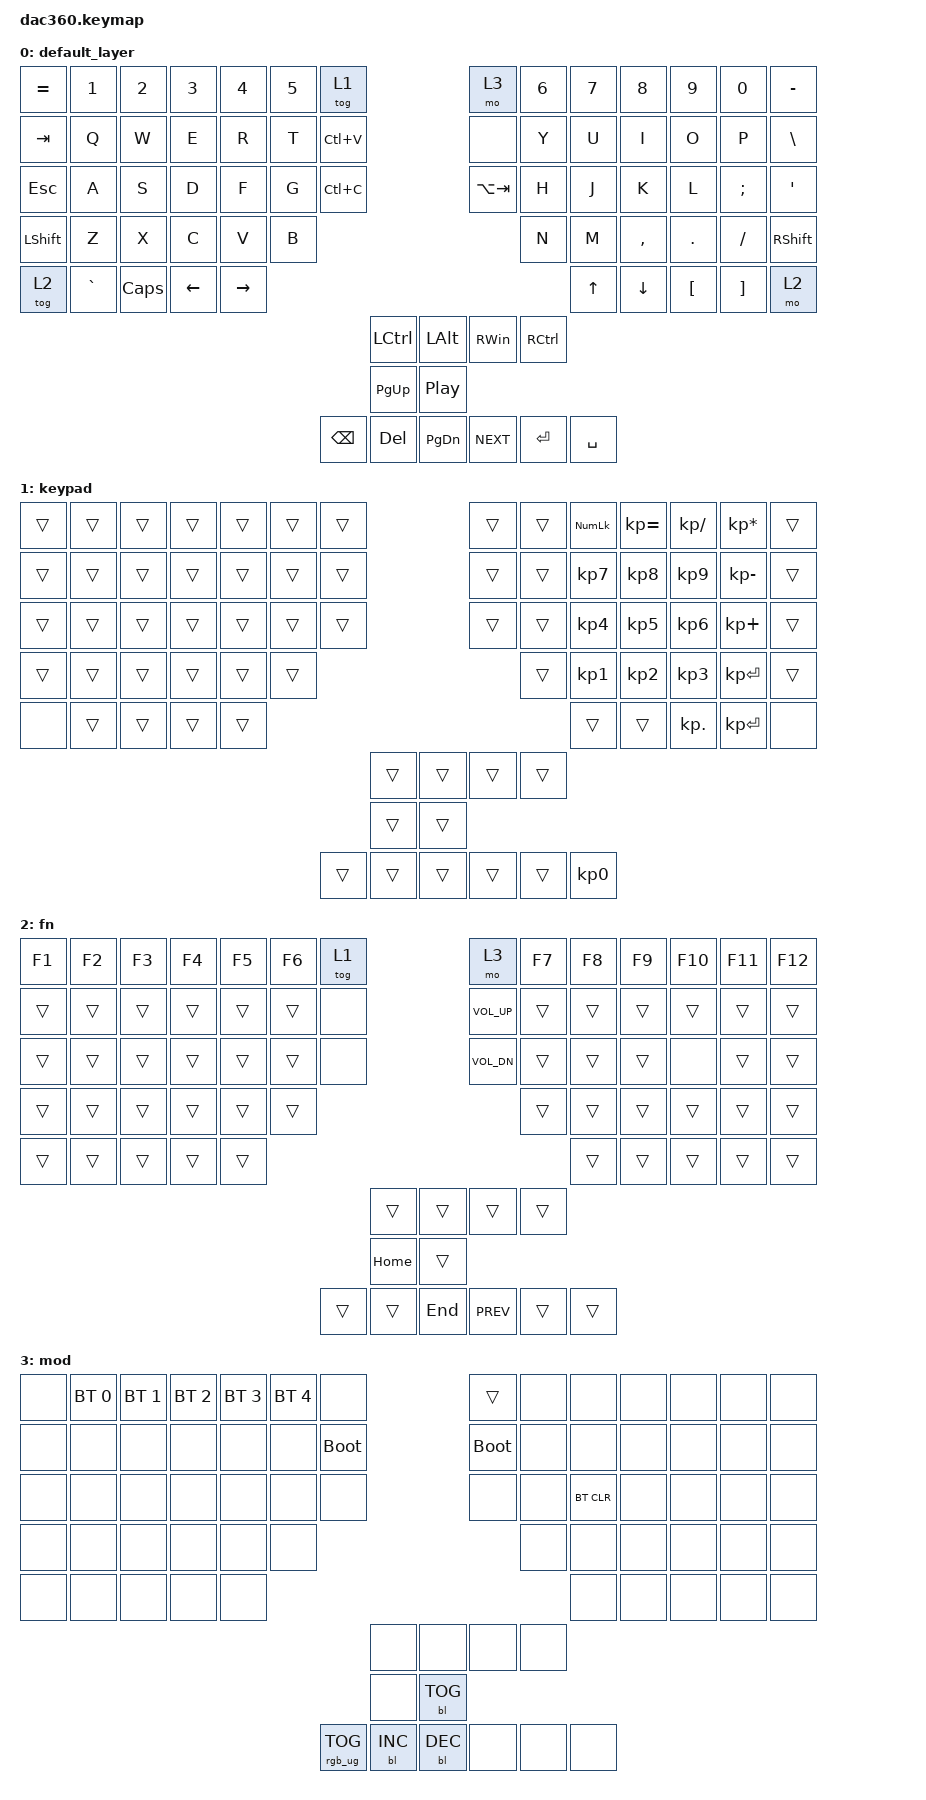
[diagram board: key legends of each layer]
#include <behaviors.dtsi>
#include <dt-bindings/zmk/backlight.h>
#include <dt-bindings/zmk/bt.h>
#include <dt-bindings/zmk/keys.h>
#include <dt-bindings/zmk/rgb.h>

/ {
    conditional_layers { compatible = "zmk,conditional-layers"; };

    macros {
        colemak_switch: eng_colemak_switch {
            compatible = "zmk,behavior-macro";
            #binding-cells = <0>;
            bindings = <&kp LS(LC(NUMBER_1)) &to 0>;
            label = "ENG_COLEMAK_SWITCH";
        };

        ru_switch: ru_switch {
            compatible = "zmk,behavior-macro";
            #binding-cells = <0>;
            bindings = <&kp LS(LC(NUMBER_2)) &to 1>;
            label = " RU_SWITCH";
        };

        ua_switch: ua_switch {
            compatible = "zmk,behavior-macro";
            #binding-cells = <0>;
            bindings = <&kp LS(LC(NUMBER_3)) &to 1>;
            label = "UA_SWITCH";
        };

        win_sleep: win_sleep {
            wait-ms = <50>;
            tap-ms = <5>;
            compatible = "zmk,behavior-macro";
            label = "WIN_SLEEP_KEY";
            #binding-cells = <0>;
            bindings = <&kp LG(X) &kp U &kp S>;
        };
    };

    behaviors {
        sleep_behavior: sleep_behavior {
            compatible = "zmk,behavior-hold-tap";
            label = "SLEEP_BEHAVIOR";
            bindings = <&win_sleep>, <&kp>;

            #binding-cells = <2>;
            flavor = "tap-preferred";
            tapping-term-ms = <500>;
        };

        D_bhv: D_bhv {
            compatible = "zmk,behavior-mod-morph";
            label = "D_BHV";
            bindings = <&kp D>, <&kp LC(V)>;

            #binding-cells = <0>;
            mods = <(MOD_LCTL)>;
        };

        T_bhv: T_bhv {
            compatible = "zmk,behavior-mod-morph";
            label = "T_BHV";
            bindings = <&kp T>, <&kp LC(F)>;

            #binding-cells = <0>;
            mods = <(MOD_LCTL)>;
        };

        R_bhv: R_bhv {
            compatible = "zmk,behavior-mod-morph";
            label = "R_BHV";
            bindings = <&kp R>, <&kp LC(S)>;

            #binding-cells = <0>;
            mods = <(MOD_LCTL)>;
        };

        S_bhv: S_bhv {
            compatible = "zmk,behavior-mod-morph";
            label = "S_BHV";
            bindings = <&kp S>, <&kp LC(D)>;

            #binding-cells = <0>;
            mods = <(MOD_LCTL)>;
        };

        P_bhv: P_bhv {
            compatible = "zmk,behavior-mod-morph";
            label = "P_BHV";
            bindings = <&kp P>, <&kp LC(R)>;

            #binding-cells = <0>;
            mods = <(MOD_LCTL)>;
        };

        B_bhv: B_bhv {
            compatible = "zmk,behavior-mod-morph";
            label = "B_BHV";
            bindings = <&kp B>, <&kp LC(T)>;

            #binding-cells = <0>;
            mods = <(MOD_LCTL)>;
        };

        V_bhv: V_bhv {
            compatible = "zmk,behavior-mod-morph";
            label = "V_BHV";
            bindings = <&kp V>, <&kp LC(B)>;

            #binding-cells = <0>;
            mods = <(MOD_LCTL)>;
        };

        F_bhv: F_bhv {
            compatible = "zmk,behavior-mod-morph";
            label = "F_BHV";
            bindings = <&kp F>, <&kp LC(E)>;

            #binding-cells = <0>;
            mods = <(MOD_LCTL)>;
        };

        K_bhv: K_bhv {
            compatible = "zmk,behavior-mod-morph";
            label = "K_BHV";
            bindings = <&kp K>, <&kp LC(N)>;

            #binding-cells = <0>;
            mods = <(MOD_LCTL)>;
        };

        M_bhv: M_bhv {
            compatible = "zmk,behavior-mod-morph";
            label = "M_BHV";
            bindings = <&kp M>, <&kp LC(H)>;

            #binding-cells = <0>;
            mods = <(MOD_LCTL)>;
        };

        J_bhv: J_bhv {
            compatible = "zmk,behavior-mod-morph";
            label = "J_BHV";
            bindings = <&kp J>, <&kp LC(Y)>;

            #binding-cells = <0>;
            mods = <(MOD_LCTL)>;
        };

        H_bhv: H_bhv {
            compatible = "zmk,behavior-mod-morph";
            label = "H_BHV";
            bindings = <&kp H>, <&kp LC(M)>;

            #binding-cells = <0>;
            mods = <(MOD_LCTL)>;
        };

        N_bhv: N_bhv {
            compatible = "zmk,behavior-mod-morph";
            label = "N_BHV";
            bindings = <&kp N>, <&kp LC(J)>;

            #binding-cells = <0>;
            mods = <(MOD_LCTL)>;
        };

        L_bhv: L_bhv {
            compatible = "zmk,behavior-mod-morph";
            label = "L_BHV";
            bindings = <&kp L>, <&kp LC(U)>;

            #binding-cells = <0>;
            mods = <(MOD_LCTL)>;
        };

        E_bhv: E_bhv {
            compatible = "zmk,behavior-mod-morph";
            label = "E_BHV";
            bindings = <&kp E>, <&kp LC(K)>;

            #binding-cells = <0>;
            mods = <(MOD_LCTL)>;
        };

        U_bhv: U_bhv {
            compatible = "zmk,behavior-mod-morph";
            label = "U_BHV";
            bindings = <&kp U>, <&kp LC(I)>;

            #binding-cells = <0>;
            mods = <(MOD_LCTL)>;
        };

        I_bhv: I_bhv {
            compatible = "zmk,behavior-mod-morph";
            label = "I_BHV";
            bindings = <&kp I>, <&kp LC(L)>;

            #binding-cells = <0>;
            mods = <(MOD_LCTL)>;
        };

        Y_bhv: Y_bhv {
            compatible = "zmk,behavior-mod-morph";
            label = "Y_BHV";
            bindings = <&kp Y>, <&kp LC(O)>;

            #binding-cells = <0>;
            mods = <(MOD_LCTL)>;
        };

        O_bhv: O_bhv {
            compatible = "zmk,behavior-mod-morph";
            label = "O_BHV";
            bindings = <&kp O>, <&kp LC(SEMICOLON)>;

            #binding-cells = <0>;
            mods = <(MOD_LCTL)>;
        };

        semcol_bhv: semcol_bhv {
            compatible = "zmk,behavior-mod-morph";
            label = "SEMCOL_BHV";
            bindings = <&kp SEMICOLON>, <&kp LC(P)>;

            #binding-cells = <0>;
            mods = <(MOD_LCTL)>;
        };
    };

    keymap {
        compatible = "zmk,keymap";

        default_layer {
            bindings = <
&kp EQUAL       &kp N1     &kp N2        &kp N3    &kp N4     &kp N5  &tog 1                                                                          &mo 3        &kp N6  &kp N7        &kp N8          &kp N9            &kp N0    &kp MINUS
&kp TAB         &kp Q      &kp W         &kp E     &kp R      &kp T   &kp LC(V)                                                                       &none        &kp Y   &kp U         &kp I           &kp O             &kp P     &kp BSLH
&kp ESC         &kp A      &kp S         &kp D     &kp F      &kp G   &kp LC(C)                                                                       &kp LA(TAB)  &kp H   &kp J         &kp K           &kp L             &kp SEMI  &kp SQT
&kp LEFT_SHIFT  &kp Z      &kp X         &kp C     &kp V      &kp B                                                                                                &kp N   &kp M         &kp COMMA       &kp DOT           &kp FSLH  &kp RSHFT
&tog 2          &kp GRAVE  &kp CAPSLOCK  &kp LEFT  &kp RIGHT                                                                                                               &kp UP_ARROW  &kp DOWN_ARROW  &kp LEFT_BRACKET  &kp RBKT  &mo 2
                                                                                                &kp LCTRL   &kp LALT     &kp RIGHT_WIN     &kp RCTRL
                                                                                                            &kp PG_UP    &kp C_PLAY_PAUSE
                                                                                 &kp BACKSPACE  &kp DELETE  &kp PG_DN    &kp C_NEXT        &kp ENTER  &kp SPACE
            >;
        };

        keypad {
            bindings = <
&trans  &trans  &trans  &trans  &trans  &trans  &trans                                            &trans           &trans  &kp KP_NUMLOCK  &kp KP_EQUAL  &kp KP_SLASH  &kp KP_ASTERISK  &trans
&trans  &trans  &trans  &trans  &trans  &trans  &trans                                            &trans           &trans  &kp KP_N7       &kp KP_N8     &kp KP_N9     &kp KP_MINUS     &trans
&trans  &trans  &trans  &trans  &trans  &trans  &trans                                            &trans           &trans  &kp KP_N4       &kp KP_N5     &kp KP_N6     &kp KP_PLUS      &trans
&trans  &trans  &trans  &trans  &trans  &trans                                                                     &trans  &kp KP_N1       &kp KP_N2     &kp KP_N3     &kp KP_ENTER     &trans
&none   &trans  &trans  &trans  &trans                                                                                     &trans          &trans        &kp KP_DOT    &kp KP_ENTER     &none
                                                                &trans  &trans    &trans  &trans
                                                                        &trans    &trans
                                                        &trans  &trans  &trans    &trans  &trans  &kp KP_NUMBER_0
            >;
        };

        fn {
            bindings = <
&kp F1  &kp F2  &kp F3  &kp F4  &kp F5  &kp F6  &tog 1                                                  &mo 3            &kp F7  &kp F8  &kp F9  &kp F10  &kp F11  &kp F12
&trans  &trans  &trans  &trans  &trans  &trans  &none                                                   &kp C_VOLUME_UP  &trans  &trans  &trans  &trans   &trans   &trans
&trans  &trans  &trans  &trans  &trans  &trans  &none                                                   &kp C_VOL_DN     &trans  &trans  &trans  &none    &trans   &trans
&trans  &trans  &trans  &trans  &trans  &trans                                                                           &trans  &trans  &trans  &trans   &trans   &trans
&trans  &trans  &trans  &trans  &trans                                                                                           &trans  &trans  &trans   &trans   &trans
                                                                &trans  &trans      &trans      &trans
                                                                        &kp HOME    &trans
                                                        &trans  &trans  &kp END     &kp C_PREV  &trans  &trans
            >;
        };

        mod {
            bindings = <
&none  &bt BT_SEL 0  &bt BT_SEL 1  &bt BT_SEL 2  &bt BT_SEL 3  &bt BT_SEL 4  &none                                                                      &trans       &none  &none       &none  &none  &none  &none
&none  &none         &none         &none         &none         &none         &bootloader                                                                &bootloader  &none  &none       &none  &none  &none  &none
&none  &none         &none         &none         &none         &none         &none                                                                      &none        &none  &bt BT_CLR  &none  &none  &none  &none
&none  &none         &none         &none         &none         &none                                                                                                 &none  &none       &none  &none  &none  &none
&none  &none         &none         &none         &none                                                                                                                      &none       &none  &none  &none  &none
                                                                                                           &none       &none         &none       &none
                                                                                                                       &none         &bl BL_TOG
                                                                                          &rgb_ug RGB_TOG  &bl BL_INC  &bl BL_DEC    &none       &none  &none
            >;
        };
    };
};
